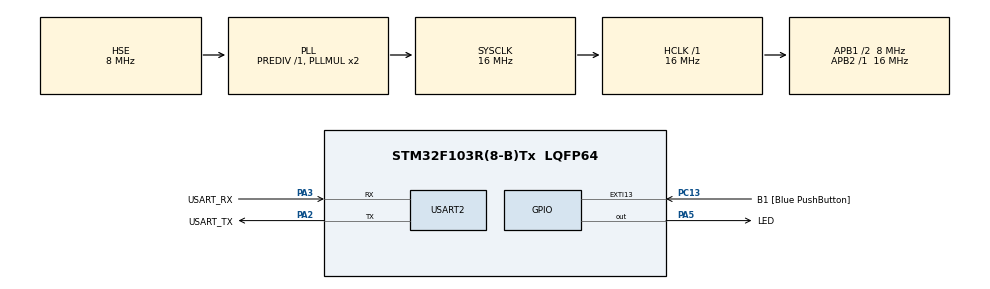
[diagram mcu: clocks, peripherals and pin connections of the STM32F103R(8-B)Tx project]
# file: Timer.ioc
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Mcu.Family=STM32F1
Mcu.Name=STM32F103R(8-B)Tx
Mcu.Package=LQFP64
NVIC.EXTI15_10_IRQn=true\:0\:0\:false\:false\:true\:true\:true\:true
NVIC.PriorityGroup=NVIC_PRIORITYGROUP_4
NVIC.TIM2_IRQn=true\:0\:0\:false\:false\:true\:true\:true\:true
NVIC.USART2_IRQn=true\:0\:0\:false\:false\:true\:true\:true\:true
PA13.GPIO_Label=TMS
PA13.Mode=Serial_Wire
PA13.Signal=SYS_JTMS-SWDIO
PA14.GPIO_Label=TCK
PA14.Mode=Serial_Wire
PA14.Signal=SYS_JTCK-SWCLK
PA2.GPIO_Label=USART_TX
PA2.GPIO_Mode=GPIO_MODE_AF_PP
PA2.GPIO_PuPd=GPIO_NOPULL
PA2.GPIO_Speed=GPIO_SPEED_FREQ_LOW
PA2.Mode=Asynchronous
PA2.Signal=USART2_TX
PA3.GPIO_Label=USART_RX
PA3.GPIO_Mode=GPIO_MODE_AF_PP
PA3.GPIO_PuPd=GPIO_NOPULL
PA3.GPIO_Speed=GPIO_SPEED_FREQ_LOW
PA3.Mode=Asynchronous
PA3.Signal=USART2_RX
PA5.GPIO_Label=LED
PA5.Signal=GPIO_Output
PB3.GPIO_Label=SWO
PB3.Signal=SYS_JTDO-TRACESWO
PC13-TAMPER-RTC.GPIO_Label=B1 [Blue PushButton]
PC13-TAMPER-RTC.GPIO_PuPd=GPIO_NOPULL
PC13-TAMPER-RTC.Signal=GPXTI13
PC14-OSC32_IN.Mode=LSE-External-Oscillator
PC14-OSC32_IN.Signal=RCC_OSC32_IN
PC15-OSC32_OUT.Mode=LSE-External-Oscillator
PC15-OSC32_OUT.Signal=RCC_OSC32_OUT
PD0-OSC_IN.Mode=HSE-External-Clock-Source
PD0-OSC_IN.Signal=RCC_OSC_IN
PD1-OSC_OUT.Mode=HSE-External-Clock-Source
PD1-OSC_OUT.Signal=RCC_OSC_OUT
ProjectManager.HeapSize=0x200
ProjectManager.StackSize=0x400
ProjectManager.TargetToolchain=STM32CubeIDE
RCC.AHBFreq_Value=16000000
RCC.APB1CLKDivider=RCC_HCLK_DIV2
RCC.APB1Freq_Value=8000000
RCC.APB1TimFreq_Value=16000000
RCC.APB2Freq_Value=16000000
RCC.APB2TimFreq_Value=16000000
RCC.HCLKFreq_Value=16000000
RCC.PLLSourceVirtual=RCC_PLLSOURCE_HSE
RCC.RTCClockSelection=RCC_RTCCLKSOURCE_LSE
RCC.SYSCLKFreq_VALUE=16000000
RCC.SYSCLKSource=RCC_SYSCLKSOURCE_PLLCLK
RCC.USBFreq_Value=16000000
TIM2.Period=1000-1
TIM2.Prescaler=16-1
USART2.VirtualMode=VM_ASYNC
VP_TIM2_VS_ClockSourceINT.Mode=Internal
board=NUCLEO-F103RB

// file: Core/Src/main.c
/* USER CODE BEGIN Header */
/**
  ******************************************************************************
  * @file           : main.c
  * @brief          : Main program body
  ******************************************************************************
  * @attention
  *
  * Copyright (c) 2024 STMicroelectronics.
  * All rights reserved.
  *
  * This software is licensed under terms that can be found in the LICENSE file
  * in the root directory of this software component.
  * If no LICENSE file comes with this software, it is provided AS-IS.
  *
  ******************************************************************************
  */
/* USER CODE END Header */
#include "main.h"
#include "tim.h"
#include "usart.h"
#include "gpio.h"

/* USER CODE BEGIN PV */
enum{STOP,RUN};
 uint8_t State = 0;
 uint8_t LED_State = 0;
 uint8_t rxData;
 uint16_t cnt = 0;
 uint8_t Mode = STOP;

/* USER CODE END PV */

void SystemClock_Config(void);

/* USER CODE BEGIN 0 */
void HAL_TIM_PeriodElapsedCallback(TIM_HandleTypeDef *htim)
{
  if(htim->Instance == TIM2)
  {
	  SystemRun();
  }
}
void HAL_UART_RxCpltCallback(UART_HandleTypeDef *huart)
{
  if((huart->Instance) == USART2)
  {
	  switch(Mode)
	  	{
	  	case STOP :
	  		if(rxData == 'r')
	  		{
	  			Mode = RUN;
	  		}
	  		break;
	  	case RUN :
	  		if(rxData == 's')
	  		{
	  			Mode = STOP;
	  		}
	  		break;
	  	}

	  HAL_UART_Receive_IT(&huart2, &rxData, 1);
  }
}
void SystemRun()
{
	switch(Mode)
	{
		case STOP :
			HAL_GPIO_WritePin(LED_GPIO_Port, LED_Pin, GPIO_PIN_RESET);
			LED_State = HAL_GPIO_ReadPin(LED_GPIO_Port, LED_Pin);
			break;
		case RUN :
			HAL_GPIO_TogglePin(LED_GPIO_Port, LED_Pin);
			LED_State = HAL_GPIO_ReadPin(LED_GPIO_Port, LED_Pin);
			break;
	}
}
/* USER CODE END 0 */

int main(void)
{

  /* MCU Configuration--------------------------------------------------------*/

  /* Reset of all peripherals, Initializes the Flash interface and the Systick. */
  HAL_Init();

  /* Configure the system clock */
  SystemClock_Config();

  /* Initialize all configured peripherals */
  MX_GPIO_Init();
  MX_USART2_UART_Init();
  MX_TIM2_Init();
  /* USER CODE BEGIN 2 */
  HAL_TIM_Base_Start_IT(&htim2);
  HAL_UART_Receive_IT(&huart2, &rxData, 1);
  /* USER CODE END 2 */

  /* Infinite loop */
  while (1)
  {

  }
}

void SystemClock_Config(void)
{
  RCC_OscInitTypeDef RCC_OscInitStruct = {0};
  RCC_ClkInitTypeDef RCC_ClkInitStruct = {0};

  /** Initializes the RCC Oscillators according to the specified parameters
  * in the RCC_OscInitTypeDef structure.
  */
  RCC_OscInitStruct.OscillatorType = RCC_OSCILLATORTYPE_HSE;
  RCC_OscInitStruct.HSEState = RCC_HSE_BYPASS;
  RCC_OscInitStruct.HSEPredivValue = RCC_HSE_PREDIV_DIV1;
  RCC_OscInitStruct.HSIState = RCC_HSI_ON;
  RCC_OscInitStruct.PLL.PLLState = RCC_PLL_ON;
  RCC_OscInitStruct.PLL.PLLSource = RCC_PLLSOURCE_HSE;
  RCC_OscInitStruct.PLL.PLLMUL = RCC_PLL_MUL2;
  if (HAL_RCC_OscConfig(&RCC_OscInitStruct) != HAL_OK)
  {
    Error_Handler();
  }

  /** Initializes the CPU, AHB and APB buses clocks
  */
  RCC_ClkInitStruct.ClockType = RCC_CLOCKTYPE_HCLK|RCC_CLOCKTYPE_SYSCLK
                              |RCC_CLOCKTYPE_PCLK1|RCC_CLOCKTYPE_PCLK2;
  RCC_ClkInitStruct.SYSCLKSource = RCC_SYSCLKSOURCE_PLLCLK;
  RCC_ClkInitStruct.AHBCLKDivider = RCC_SYSCLK_DIV1;
  RCC_ClkInitStruct.APB1CLKDivider = RCC_HCLK_DIV2;
  RCC_ClkInitStruct.APB2CLKDivider = RCC_HCLK_DIV1;

  if (HAL_RCC_ClockConfig(&RCC_ClkInitStruct, FLASH_LATENCY_0) != HAL_OK)
  {
    Error_Handler();
  }
}

void Error_Handler(void)
{
  __disable_irq();
  while (1)
  {
  }
}
